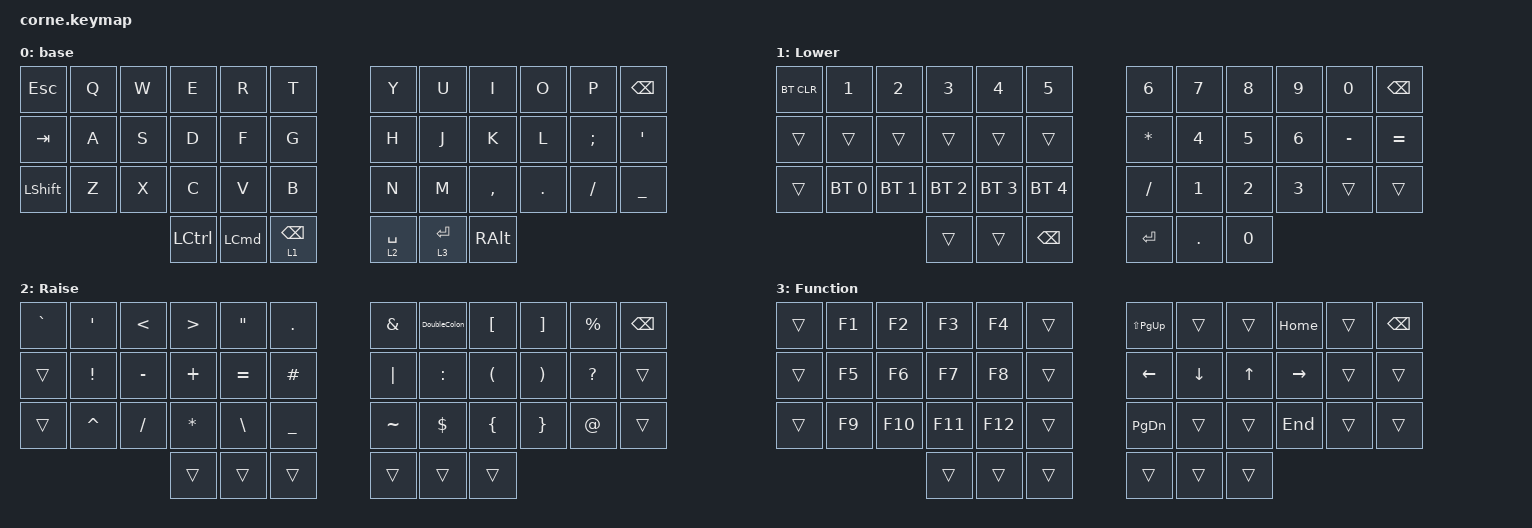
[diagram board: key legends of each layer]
/*
 * Copyright (c) 2020 The ZMK Contributors
 *
 * SPDX-License-Identifier: MIT
 */

#include <behaviors.dtsi>
#include <dt-bindings/zmk/bt.h>
#include <dt-bindings/zmk/keys.h>

/ {
    macros {
        DoubleColon: doubleColon {
            compatible = "zmk,behavior-macro";
            #binding-cells = <0>;
            bindings = <&kp COLON &kp COLON>;
            label = "DOUBLECOLON";
        };
    };

    keymap {
        compatible = "zmk,keymap";

        Base {
            // -----------------------------------------------------------------------------------------
            // |  TAB |  Q  |  W  |  E  |  R  |  T  |   |  Y  |  U   |  I  |  O  |  P  | BKSP |
            // | CTRL |  A  |  S  |  D  |  F  |  G  |   |  H  |  J   |  K  |  L  |  ;  |  '   |
            // | SHFT |  Z  |  X  |  C  |  V  |  B  |   |  N  |  M   |  ,  |  .  |  /  | ESC  |
            //                    | GUI | LWR | SPC |   | ENT | RSE  | ALT |

            display-name = "base";
            bindings = <
&kp ESCAPE  &kp Q  &kp W  &kp E             &kp R             &kp T              &kp Y        &kp U        &kp I      &kp O    &kp P     &kp BSPC
&kp TAB     &kp A  &kp S  &kp D             &kp F             &kp G              &kp H        &kp J        &kp K      &kp L    &kp SEMI  &kp SQT
&kp LSHFT   &kp Z  &kp X  &kp C             &kp V             &kp B              &kp N        &kp M        &kp COMMA  &kp DOT  &kp FSLH  &kp UNDERSCORE
                          &kp LEFT_CONTROL  &kp LEFT_COMMAND  &lt 1 BACKSPACE    &lt 2 SPACE  &lt 3 ENTER  &kp RALT
            >;
        };

        Number {
            // -----------------------------------------------------------------------------------------
            // |  TAB |  1  |  2  |  3  |  4  |  5  |   |  6  |  7  |  8  |  9  |  0  | BKSP |
            // | BTCLR| BT1 | BT2 | BT3 | BT4 | BT5 |   | LFT | DWN |  UP | RGT |     |      |
            // | SHFT |     |     |     |     |     |   |     |     |     |     |     |      |
            //                    | GUI |     | SPC |   | ENT |     | ALT |

            display-name = "Lower";
            bindings = <
&bt BT_CLR  &kp N1        &kp N2        &kp N3        &kp N4        &kp N5           &kp N6        &kp N7        &kp N8        &kp N9        &kp N0     &kp BSPC
&trans      &trans        &trans        &trans        &trans        &trans           &kp ASTERISK  &kp NUMBER_4  &kp N5        &kp NUMBER_6  &kp MINUS  &kp EQUAL
&trans      &bt BT_SEL 0  &bt BT_SEL 1  &bt BT_SEL 2  &bt BT_SEL 3  &bt BT_SEL 4     &kp SLASH     &kp NUMBER_1  &kp NUMBER_2  &kp NUMBER_3  &trans     &trans
                                        &trans        &trans        &kp BACKSPACE    &kp RET       &kp PERIOD    &kp N0
            >;
        };

        Symbols {
            // -----------------------------------------------------------------------------------------
            // |  TAB |  !  |  @  |  #  |  $  |  %  |   |  ^  |  &  |  *  |  (  |  )  | BKSP |
            // | CTRL |     |     |     |     |     |   |  -  |  =  |  [  |  ]  |  \  |  `   |
            // | SHFT |     |     |     |     |     |   |  _  |  +  |  {  |  }  | "|" |  ~   |
            //                    | GUI |     | SPC |   | ENT |     | ALT |

            display-name = "Raise";
            bindings = <
&kp GRAVE  &kp SQT          &kp LESS_THAN  &kp GREATER_THAN  &kp DOUBLE_QUOTES  &kp PERIOD        &kp AMPERSAND  &DoubleColon  &kp LEFT_BRACKET      &kp RIGHT_BRACKET      &kp PERCENT   &kp BSPC
&trans     &kp EXCLAMATION  &kp MINUS      &kp PLUS          &kp EQUAL          &kp HASH          &kp PIPE       &kp COLON     &kp LEFT_PARENTHESIS  &kp RIGHT_PARENTHESIS  &kp QUESTION  &trans
&trans     &kp CARET        &kp SLASH      &kp ASTERISK      &kp BACKSLASH      &kp UNDERSCORE    &kp TILDE      &kp DOLLAR    &kp LEFT_BRACE        &kp RIGHT_BRACE        &kp AT_SIGN   &trans
                                           &trans            &trans             &trans            &trans         &trans        &trans
            >;
        };

        Function {
            bindings = <
&trans  &kp F1  &kp F2   &kp F3   &kp F4   &trans    &kp LS(PG_UP)   &trans    &trans        &kp HOME   &trans  &kp BSPC
&trans  &kp F5  &kp F6   &kp F7   &kp F8   &trans    &kp LEFT_ARROW  &kp DOWN  &kp UP_ARROW  &kp RIGHT  &trans  &trans
&trans  &kp F9  &kp F10  &kp F11  &kp F12  &trans    &kp PAGE_DOWN   &trans    &trans        &kp END    &trans  &trans
                         &trans   &trans   &trans    &trans          &trans    &trans
            >;
        };
    };
};
